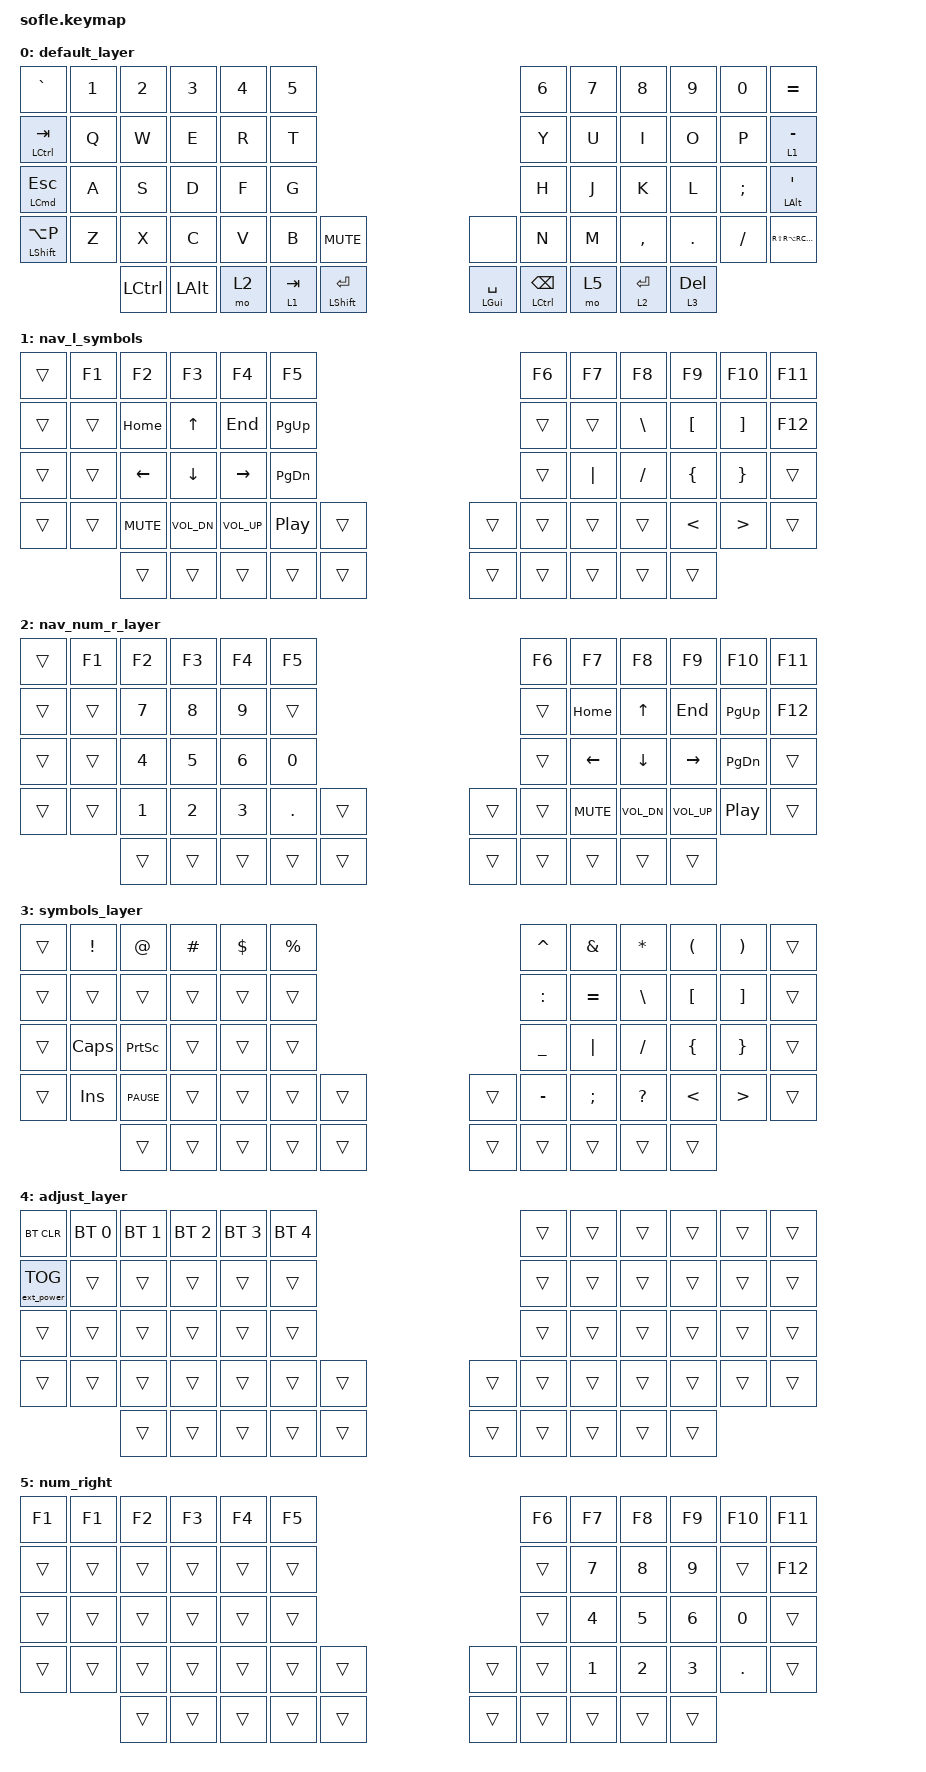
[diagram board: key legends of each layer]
/*
 * Copyright (c) 2020 The ZMK Contributors
 *
 * SPDX-License-Identifier: MIT
 */

#include <behaviors.dtsi>
#include <dt-bindings/zmk/bt.h>
#include <dt-bindings/zmk/ext_power.h>
#include <dt-bindings/zmk/keys.h>

#define DEFAULT 0
#define NAV_NUM_L 1
#define NAV_NUM_R 2
#define SYMBOLS 3
#define ADJUST  4

/ {
    conditional_layers {
        compatible = "zmk,conditional-layers";

        adjust_layer {
            if-layers = <1 3>;
            then-layer = <4>;
        };
    };

    macros {
        assignment_operator: assignment_operator {
            compatible = "zmk,behavior-macro";
            #binding-cells = <0>;
            bindings = <&kp COLON &kp EQUAL>;
            label = "ASSIGNMENT_OPERATOR";
        };

        channel_operator: channel_operator {
            compatible = "zmk,behavior-macro";
            #binding-cells = <0>;
            bindings = <&kp LT &kp MINUS>;
            label = "CHANNEL_OPERATOR";
        };

        variadic_operator: variadic_operator {
            compatible = "zmk,behavior-macro";
            #binding-cells = <0>;
            bindings = <&kp DOT &kp DOT &kp DOT>;
            label = "VARIADIC_OPERATOR";
        };
    };

    behaviors {
        lt_hold_pref: lt_hold_pref {
            compatible = "zmk,behavior-hold-tap";
            label = "LT_HOLD_PREF";
            bindings = <&mo>, <&kp>;

            #binding-cells = <2>;
            tapping-term-ms = <190>;
        };

        mt_balanced: mt_balanced {
            compatible = "zmk,behavior-hold-tap";
            label = "MT_BALANCED";
            bindings = <&kp>, <&kp>;

            #binding-cells = <2>;
            tapping-term-ms = <200>;
            flavor = "balanced";
        };
    };

    keymap {
        compatible = "zmk,keymap";

        default_layer {
            // ---------------------------------------------------------------------------------------------------------------------------------
            // |  GRAVE |  1  |  2  |  3   |  4   |  5   |                   |  6   |  7    |  8    |  9   |   0   | MINUS |
            // |  LT2TAB|  Q  |  W  |  E   |  R   |  T   |                   |  Y   |  U    |  I    |  O   |   P   | LT1=  |
            // | MTLCESC|  A  |  S  |  D   |  F   |  G   |                   |  H   |  J    |  K    |  L   |   ;   |   '   |
            // |  LSHFT |  Z  |  X  |  C   |  V   |  B   |  CMUTE   |  |     |  N   |  M    |  ,    |  .   |   /   |MTRALC |
            //                | CTL | LALT | MO3  | LT1TAB|  MTLSE   |  |MTGS | MTLCBS| MO1   | LT3ENT| LT2DEL|

            bindings = <
&kp GRAVE                &kp N1  &kp N2     &kp N3    &kp N4  &kp N5                                                                    &kp N6                        &kp N7  &kp N8       &kp N9        &kp N0    &kp EQUAL
&mt LCTRL TAB            &kp Q   &kp W      &kp E     &kp R   &kp T                                                                     &kp Y                         &kp U   &kp I        &kp O         &kp P     &lt 1 MINUS
&mt LEFT_COMMAND ESCAPE  &kp A   &kp S      &kp D     &kp F   &kp G                                                                     &kp H                         &kp J   &kp K        &kp L         &kp SEMI  &mt_balanced LALT SQT
&mt LSHFT LA(P)          &kp Z   &kp X      &kp C     &kp V   &kp B                &kp C_MUTE                  &none                    &kp N                         &kp M   &kp COMMA    &kp DOT       &kp FSLH  &kp RS(RA(RC(RG(RGUI))))
                                 &kp LCTRL  &kp LALT  &mo 2   &lt_hold_pref 1 TAB  &mt_balanced LSHFT ENTER    &mt_balanced LGUI SPACE  &mt_balanced LCTRL BACKSPACE  &mo 5   &lt 2 ENTER  &lt 3 DELETE
            >;
        };

        nav_l_symbols {
            // ---------------------------------------------------------------------------------------------------------------------------------
            // |  F1-F6 |  F1 |  F2 |  F3  |  F4  |  F5  |                   |  F6  |  F7   |  F8   |  F9  |  F10  |  F11  |
            // |        |     | HOME|  UP  | END  | PG_UP|                   |      |  7    |  8    |  9   |       |  F12  |
            // |        | CBGI| LEFT| DOWN |RIGHT | PG_DN|                   |      |  4    |  5    |  6   |   0   |   +   |
            // |        | CBGD|CMUTE| CVOLD| CVOLU|  CPP |          |  |     |      |  1    |  2    |  3   |   .   |       | 
            //                |     |      |      |      |          |  |     |      |       |       |      |

            bindings = <
&trans  &kp F1  &kp F2      &kp F3        &kp F4        &kp F5                       &kp F6  &kp F7    &kp F8    &kp F9    &kp F10   &kp F11
&trans  &trans  &kp HOME    &kp UP        &kp END       &kp PG_UP                    &trans  &trans    &kp BSLH  &kp LBKT  &kp RBKT  &kp F12
&trans  &trans  &kp LEFT    &kp DOWN      &kp RIGHT     &kp PG_DN                    &trans  &kp PIPE  &kp FSLH  &kp LBRC  &kp RBRC  &trans
&trans  &trans  &kp C_MUTE  &kp C_VOL_DN  &kp C_VOL_UP  &kp C_PP   &trans    &trans  &trans  &trans    &trans    &kp LT    &kp GT    &trans
                &trans      &trans        &trans        &trans     &trans    &trans  &trans  &trans    &trans    &trans
            >;
        };

        nav_num_r_layer {
            // ---------------------------------------------------------------------------------------------------------------------------------
            // |  F1-F6 |  F1 |  F2 |  F3  |  F4  |  F5  |                  |  F6  |  F7   |  F8   |  F9  |  F10  |  F11  |
            // |        |     |  7  |  8   |  9   |      |                  |      | HOME  |  UP   | END  | PG_UP |  F12  |
            // |        |     |  4  |  5   |  6   |  0   |                  | CBGI | LEFT  | DOWN  |RIGHT | PG_DN |       |
            // |        |     |  1  |  2   |  3   |  .   |        |  |      | CBGD | CMUTE | CVOLD | CVOLU|  CPP  |       |
            //                |     |      |      |      |        |  |      |      |       |       |      |

            bindings = <
&trans  &kp F1  &kp F2  &kp F3  &kp F4  &kp F5                     &kp F6  &kp F7      &kp F8        &kp F9        &kp F10    &kp F11
&trans  &trans  &kp N7  &kp N8  &kp N9  &trans                     &trans  &kp HOME    &kp UP        &kp END       &kp PG_UP  &kp F12
&trans  &trans  &kp N4  &kp N5  &kp N6  &kp N0                     &trans  &kp LEFT    &kp DOWN      &kp RIGHT     &kp PG_DN  &trans
&trans  &trans  &kp N1  &kp N2  &kp N3  &kp DOT  &trans    &trans  &trans  &kp C_MUTE  &kp C_VOL_DN  &kp C_VOL_UP  &kp C_PP   &trans
                &trans  &trans  &trans  &trans   &trans    &trans  &trans  &trans      &trans        &trans
            >;
        };

        symbols_layer {
            // ---------------------------------------------------------------------------------------------------------------------------------
            // |       |  !  |  @  |  #  |  $  |  %  |                    |  ^  |  &  |   *  |   (  |   )  |       |
            // |       |     |     |     |     |     |                    |  :  |  =  |   \  |   [  |   ]  |   `   |
            // |       | CAPS| PSCR| :=  | <-  | ... |                    |  _  |  +  |   /  |   {  |   }  |   |   |
            // |       | INS |PAUSE|     |     |     |          |  |      |  -  |  ;  |   ?  |   <  |   >  |       |
            //              |     |     |     |     |          |  |      |     |     |      |      |

            bindings = <
&trans  &kp EXCL      &kp AT           &kp HASH  &kp DLLR  &kp PRCNT                    &kp CARET  &kp AMPS   &kp ASTRK  &kp LPAR  &kp RPAR  &trans
&trans  &trans        &trans           &trans    &trans    &trans                       &kp COLON  &kp EQUAL  &kp BSLH   &kp LBKT  &kp RBKT  &trans
&trans  &kp CAPSLOCK  &kp PRINTSCREEN  &trans    &trans    &trans                       &kp UNDER  &kp PIPE   &kp FSLH   &kp LBRC  &kp RBRC  &trans
&trans  &kp INS       &kp C_PAUSE      &trans    &trans    &trans     &trans    &trans  &kp MINUS  &kp SEMI   &kp QMARK  &kp LT    &kp GT    &trans
                      &trans           &trans    &trans    &trans     &trans    &trans  &trans     &trans     &trans     &trans
            >;
        };

        adjust_layer {
            // ---------------------------------------------------------------------------------------------------------------------------------
            // | BTCLR| BT1 | BT2 | BT3  |  BT4 |  BT5 |                |      |      |      |      |      |      |
            // |EPTOG |     |     |      |      |      |                |      |      |      |      |      |      |
            // |      |     |     |      |      |      |                |      |      |      |      |      |      |
            // |      |     |     |      |      |      |        |       |      |      |      |      |      |      |
            //              |     |      |      |      |        |       |      |      |      |      |

            bindings = <
&bt BT_CLR         &bt BT_SEL 0  &bt BT_SEL 1  &bt BT_SEL 2  &bt BT_SEL 3  &bt BT_SEL 4                    &trans  &trans  &trans  &trans  &trans  &trans
&ext_power EP_TOG  &trans        &trans        &trans        &trans        &trans                          &trans  &trans  &trans  &trans  &trans  &trans
&trans             &trans        &trans        &trans        &trans        &trans                          &trans  &trans  &trans  &trans  &trans  &trans
&trans             &trans        &trans        &trans        &trans        &trans        &trans    &trans  &trans  &trans  &trans  &trans  &trans  &trans
                                 &trans        &trans        &trans        &trans        &trans    &trans  &trans  &trans  &trans  &trans
            >;
        };

        num_right {
            bindings = <
&kp F1  &kp F1  &kp F2  &kp F3  &kp F4  &kp F5                    &kp F6  &kp F7  &kp F8  &kp F9  &kp F10  &kp F11
&trans  &trans  &trans  &trans  &trans  &trans                    &trans  &kp N7  &kp N8  &kp N9  &trans   &kp F12
&trans  &trans  &trans  &trans  &trans  &trans                    &trans  &kp N4  &kp N5  &kp N6  &kp N0   &trans
&trans  &trans  &trans  &trans  &trans  &trans  &trans    &trans  &trans  &kp N1  &kp N2  &kp N3  &kp DOT  &trans
                &trans  &trans  &trans  &trans  &trans    &trans  &trans  &trans  &trans  &trans
            >;
        };
    };
};
